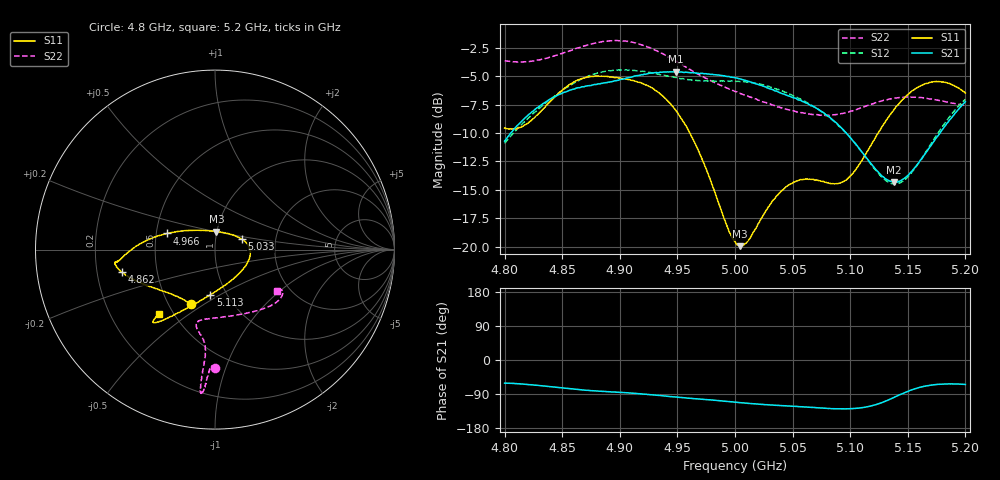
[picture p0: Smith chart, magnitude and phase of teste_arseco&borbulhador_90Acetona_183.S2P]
! Network Analyzer HP8722D
! Hewlett-Packard
! Data name: Linha & Wilkinson
! Saver's name: Rodrigo Anjos
! Comments: Teste da utilização de aquisição
! continua pelo VNA HP8722D
! Time and date: 17/4/2025 12:34
!  Frequency  S11  S21  S12  S22
# HZ  S  MA R 50
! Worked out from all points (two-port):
!   401 points, 4.8 GHz to 5.2 GHz, reference 50 ohm
!   highest |S21| = -4.62 dB at 4.949 GHz (marker M1); lowest = -14.3 dB at 5.138 GHz (marker M2)
!   |S21| within 3 dB of the highest: 4.831 GHz to 5.067 GHz (236.6 MHz wide, 4.78 % of centre); 5.196578 GHz to end of sweep
!   lowest |S11| = -19.9 dB at 5.004 GHz (marker M3), VSWR 1.22, Z = 49.8 + j10.1 ohm
!   |S11| at or under -10 dB: 4.961 GHz to 5.124 GHz (163.4 MHz wide, 3.24 % of centre)
!   |S22| runs from -8.5 to -1.9 dB; largest |S21 - S12| = 0.88
!   S11 on the Smith chart (normalised r, x): 4.8 GHz: 0.64, -0.44; 4.862 GHz: 0.31, -0.11; 4.966 GHz: 0.57, +0.11; 5.033 GHz: 1.34, +0.16; 5.113 GHz: 0.84, -0.45; 5.2 GHz: 0.42, -0.39
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4.8e9  0.3324 -114.0  0.2912 -61.0  0.2847 -175.3  0.6569 -89.9
4.819e9  0.3461 -134.1  0.3732 -64.3  0.3605 -173.9  0.6508 -91.5
4.862e9  0.5352 -166.5  0.4973 -77.4  0.5305 -177.2  0.7437 -93.9
4.867e9  0.5479 -168.5  0.5046 -78.8  0.5469 -178.0  0.7568 -94.2
4.899e9  0.5518 -173.0  0.5396 -85.3  0.5987 175.3  0.8035 -95.4
4.934e9  0.4754 -179.0  0.5826 -93.6  0.5726 171.6  0.7175 -96.0
4.949e9  0.3948 173.4  0.5874 -97.6  0.5549 171.9  0.6529 -95.6
4.966e9  0.2802 161.2  0.5788 -102.2  0.5383 173.6  0.5815 -95.3
5e9  0.1054 99.4  0.5526 -111.3  0.5351 175.9  0.4812 -99.4
5.004e9  0.1006 85.6  0.5471 -112.4  0.5321 176.0  0.4737 -100.4
5.012e9  0.1075 60.1  0.5326 -114.6  0.5268 175.8  0.4566 -102.2
5.033e9  0.1603 21.9  0.4902 -119.0  0.4991 174.6  0.4193 -104.0
5.05e9  0.1908 4.4  0.4526 -122.2  0.4615 174.0  0.3965 -99.8
5.067e9  0.1981 -13.7  0.4168 -125.1  0.4175 173.4  0.3809 -90.9
5.093e9  0.1926 -58.1  0.3302 -128.9  0.3293 173.9  0.3849 -70.8
5.113e9  0.2534 -95.7  0.25 -124.5  0.2491 179.9  0.4142 -55.1
5.134e9  0.3761 -117.2  0.1948 -104.3  0.191 -157.2  0.4456 -43.2
5.138e9  0.4007 -119.4  0.1923 -98.7  0.1886 -151.0  0.4488 -41.3
5.15e9  0.4658 -124.8  0.2055 -82.7  0.2024 -132.3  0.4551 -36.9
5.17e9  0.5283 -129.6  0.2777 -66.4  0.2829 -112.6  0.4463 -32.1
5.184e9  0.5249 -130.8  0.3489 -63.2  0.36 -107.4  0.4328 -31.2
5.2e9  0.4738 -131.2  0.4339 -64.5  0.4448 -106.6  0.4162 -33.6
